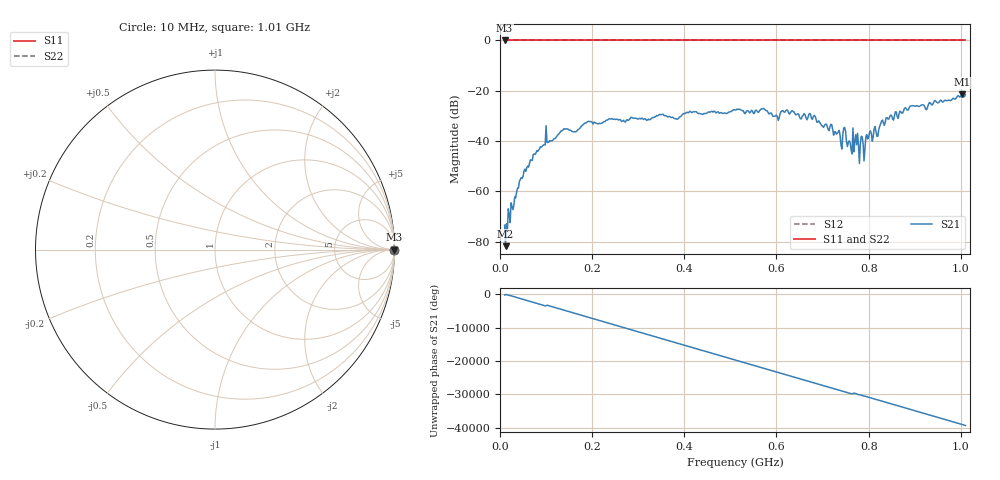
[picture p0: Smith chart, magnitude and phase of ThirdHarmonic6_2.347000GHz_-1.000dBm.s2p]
! 8/17/2025 3:30:44 AM
! C:\ANRITSUVNA\TEMP\TEMP.S2P
! CHANNEL.1
! TR.MEASUREMENT
! RAW.DATA
! RF.CORRECTION.OFF
! AVERAGING.OFF
! IF.BANDWIDTH: 5KHZ
! SWEEPTYPE:  FREQ.SWEEP(Linear)
! Reference Plane Port Info
! PORT:  PORT1  PORT2
! DISTANCE:  0  m  0  m
! TIME:  0  s  0  s
! PHASE.OFFSET:  0  deg.  0  deg.
! LOSS:  0  dB  0  dB
! REF.LOSS:  0  dB  0  dB
! REF.FREQ:  0  Hz  0  Hz
! Power Info
! POWER:  -20  dBm  -20  dBm
! EFF.POWER:  -20  dBm  -20  dBm
! SOURCE.ATTEN:  0  dB  0  dB
! TEST.ATTEN:  0  dB  0  dB
# GHZ S RI R 50.0
! FREQ.GHZ  S11RE  S11IM  S21RE  S21IM  S12RE  S12IM  S22RE  S22IM
!; PortSelection: Port_12
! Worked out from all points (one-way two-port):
!   501 points, 10 MHz to 1.01 GHz, reference 50 ohm
!   highest |S21| = -21.33 dB at 1.002 GHz (marker M1); lowest = -81.8 dB at 12 MHz (marker M2)
!   lowest |S11| = 0.0 dB at 10 MHz (marker M3)
!   |S11| at or under -10 dB: nowhere
!   |S22| runs from 0.0 to 0.0 dB; largest |S21 - S12| = 1.1
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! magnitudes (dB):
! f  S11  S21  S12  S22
! 10 MHz  0.0  -73.5  0.0  0.0
! 12 MHz  0.0  -81.8  0.0  0.0
! 42 MHz  0.0  -56.1  0.0  0.0
! 76 MHz  0.0  -45.3  0.0  0.0
! 104 MHz  0.0  -40.5  0.0  0.0
! 178 MHz  0.0  -33.9  0.0  0.0
! 344 MHz  0.0  -29.8  0.0  0.0
! 384 MHz  0.0  -31.3  0.0  0.0
! 410 MHz  0.0  -28.6  0.0  0.0
! 510 MHz  0.0  -27.6  0.0  0.0
! 678 MHz  0.0  -31.4  0.0  0.0
! 740 MHz  0.0  -41.5  0.0  0.0
! 748 MHz  0.0  -34.6  0.0  0.0
! 760 MHz  0.0  -40.8  0.0  0.0
! 774 MHz  0.0  -41.5  0.0  0.0
! 778 MHz  0.0  -41.7  0.0  0.0
! 792 MHz  0.0  -42.9  0.0  0.0
! 800 MHz  0.0  -38.5  0.0  0.0
! 820 MHz  0.0  -38.0  0.0  0.0
! 844 MHz  0.0  -31.2  0.0  0.0
! 1.002 GHz  0.0  -21.3  0.0  0.0
! 1.01 GHz  0.0  -21.5  0.0  0.0
